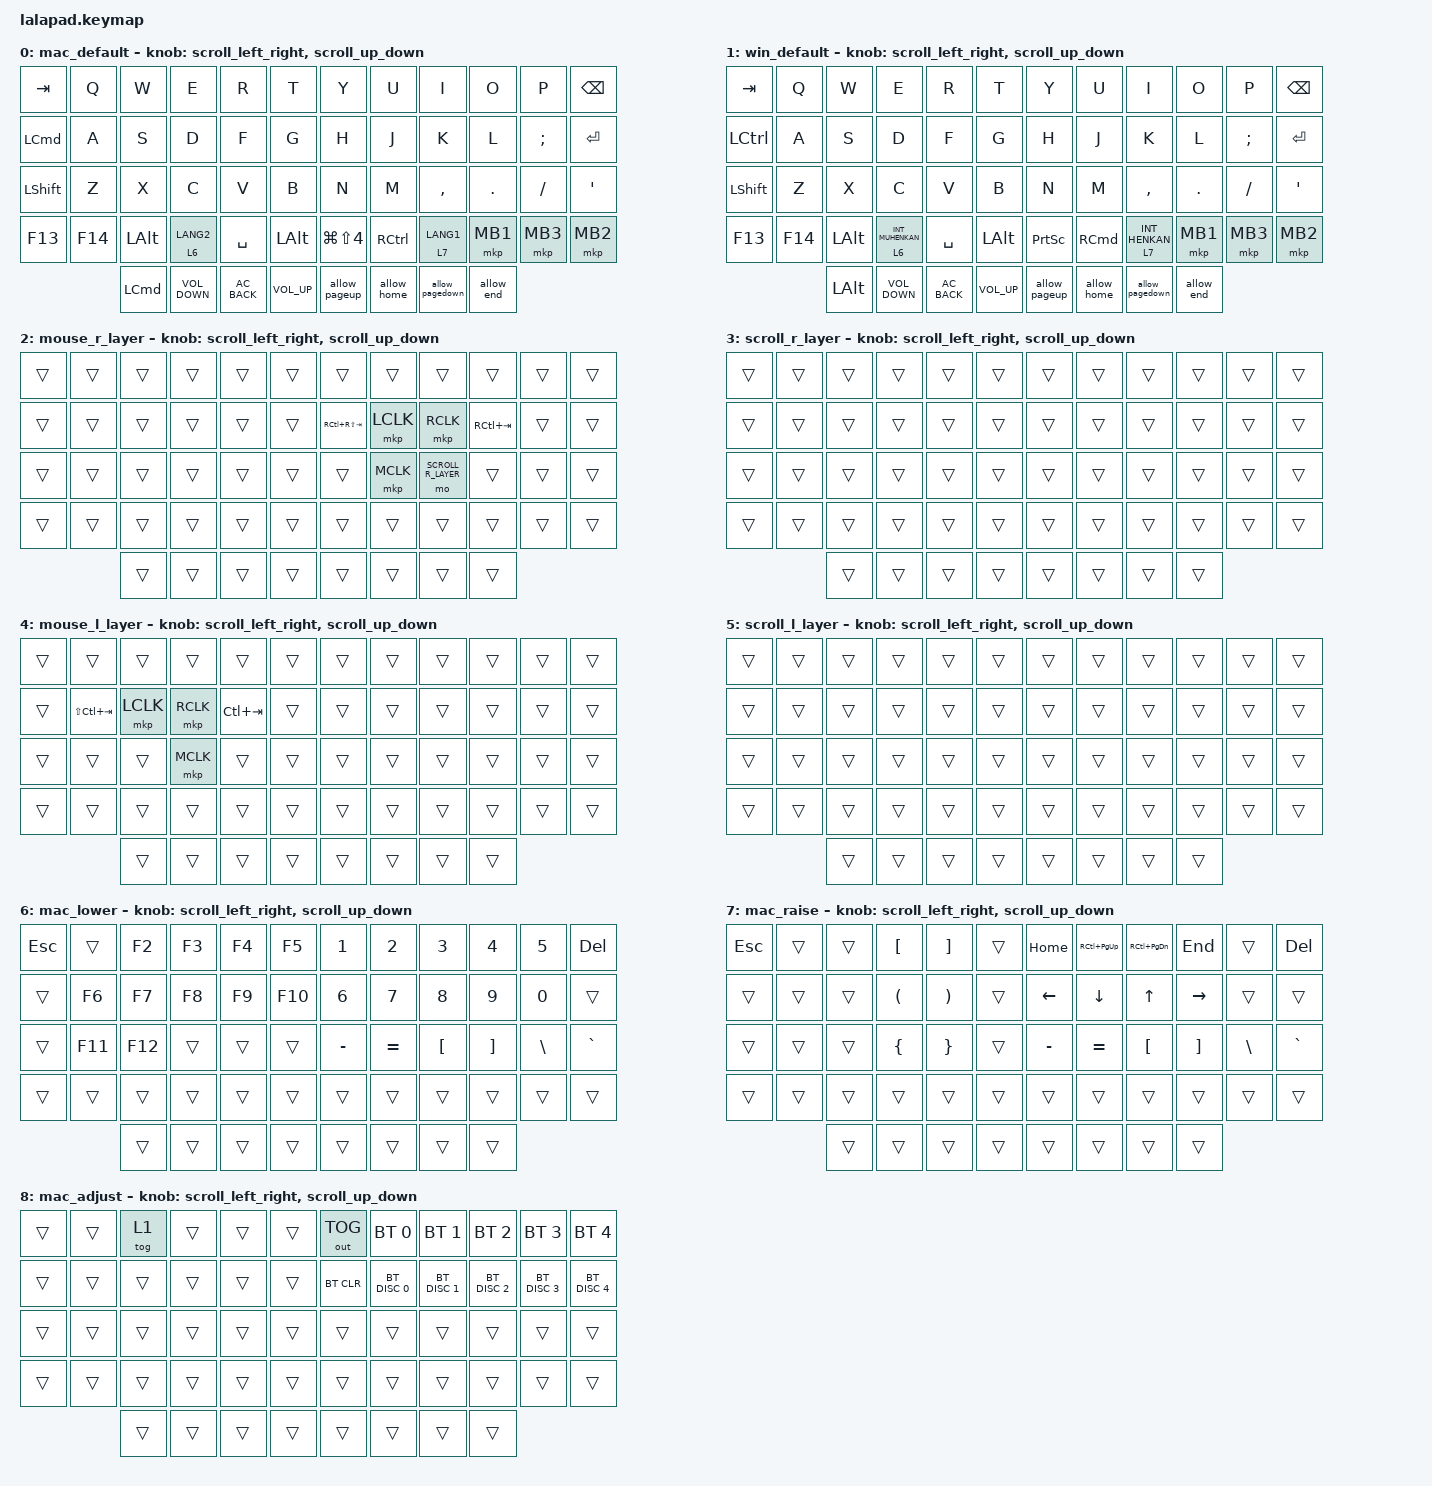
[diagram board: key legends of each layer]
#include <input/processors.dtsi>
#include <behaviors.dtsi>
#include <dt-bindings/zmk/bt.h>
#include <dt-bindings/zmk/keys.h>
#include <dt-bindings/zmk/outputs.h>
#include <dt-bindings/zmk/pointing.h>

#define MAC_DEFAULT     0
#define WIN_DEFAULT     1
#define MOUSE_R_LAYER   2
#define SCROLL_R_LAYER  3
#define MOUSE_L_LAYER   4
#define SCROLL_L_LAYER  5
#define MAC_LOWER       6
#define MAC_RAISE       7
#define MAC_ADJUST      8

// Mouse Scroll Value

#define ZMK_POINTING_DEFAULT_SCRL_VAL 100

&zip_temp_layer {
    require-prior-idle-ms = <200>;
    excluded-positions = <
        0  // Tab
        12 // Ctrl
        18 // H
        19 // J
        20 // K
        21 // L
        24 // Shift
        31 // M
        32 // ,
    >;
};

// cirque trackpad input&layer control

&glidepoint_listener_R {
    input-processors =
        <&zip_xy_transform (INPUT_TRANSFORM_XY_SWAP | INPUT_TRANSFORM_X_INVERT | INPUT_TRANSFORM_Y_INVERT)>,
        <&zip_xy_scaler 6 2>,
        <&zip_temp_layer MOUSE_R_LAYER 500>;

    lowspeedmode {
        layers = <MAC_LOWER>;
        input-processors =
            <&zip_xy_transform (INPUT_TRANSFORM_XY_SWAP | INPUT_TRANSFORM_X_INVERT | INPUT_TRANSFORM_Y_INVERT)>,
            <&zip_xy_scaler 3 5>,
            <&zip_temp_layer MOUSE_R_LAYER 500>;
    };

    scroller {
        layers = <SCROLL_R_LAYER>;
        input-processors =
            <&zip_xy_to_scroll_mapper>,
            <&zip_scroll_transform (INPUT_TRANSFORM_XY_SWAP | INPUT_TRANSFORM_Y_INVERT)>,
            <&zip_scroll_scaler 1 8>;
    };
};

&glidepoint_listener_L {
    input-processors =
        <&zip_xy_transform (INPUT_TRANSFORM_XY_SWAP | INPUT_TRANSFORM_X_INVERT | INPUT_TRANSFORM_Y_INVERT)>,
        <&zip_xy_scaler 6 2>,
        <&zip_temp_layer MOUSE_L_LAYER 500>;

    lowspeedmode {
        layers = <MAC_LOWER>;
        input-processors =
            <&zip_xy_transform (INPUT_TRANSFORM_XY_SWAP | INPUT_TRANSFORM_X_INVERT | INPUT_TRANSFORM_Y_INVERT)>,
            <&zip_xy_scaler 3 5>,
            <&zip_temp_layer MOUSE_L_LAYER 500>;
    };

    scroller {
        layers = <SCROLL_L_LAYER>;
        input-processors =
            <&zip_xy_to_scroll_mapper>,
            <&zip_scroll_transform (INPUT_TRANSFORM_XY_SWAP | INPUT_TRANSFORM_Y_INVERT)>,
            <&zip_scroll_scaler 1 6>;
    };
};

/ {
    behaviors {
        // Encoder to Mouse Scroll

        scroll_up_down: behavior_sensor_rotate_mouse_wheel_up_down {
            compatible = "zmk,behavior-sensor-rotate";
            #sensor-binding-cells = <0>;
            bindings = <&msc SCRL_UP>, <&msc SCRL_DOWN>;

            tap-ms = <20>;
            label = "SCROLL_UP_DOWN";
        };

        scroll_down_up: behavior_sensor_rotate_mouse_wheel_down_up {
            compatible = "zmk,behavior-sensor-rotate";
            #sensor-binding-cells = <0>;
            bindings = <&msc SCRL_DOWN>, <&msc SCRL_UP>;

            tap-ms = <20>;
            label = "SCROLL_DOWN_UP";
        };

        scroll_left_right: behavior_sensor_rotate_mouse_wheel_left_right {
            compatible = "zmk,behavior-sensor-rotate";
            #sensor-binding-cells = <0>;
            bindings = <&msc SCRL_LEFT>, <&msc SCRL_RIGHT>;

            tap-ms = <20>;
            label = "SCROLL_LEFT_RIGHT";
        };

        scroll_right_left: behavior_sensor_rotate_mouse_wheel_right_left {
            compatible = "zmk,behavior-sensor-rotate";
            #sensor-binding-cells = <0>;
            bindings = <&msc SCRL_RIGHT>, <&msc SCRL_LEFT>;

            tap-ms = <20>;
            label = "SCROLL_RIGHT_LEFT";
        };

        volume_up_down: behavior_sensor_rotate_volume_up_down {
            compatible = "zmk,behavior-sensor-rotate";
            #sensor-binding-cells = <0>;
            bindings = <&kp C_VOLUME_UP>, <&kp C_VOLUME_DOWN>;

            tap-ms = <20>;
            label = "VOLUME_UP_DOWN";
        };

        dot_comma: dot_comma {
            compatible = "zmk,behavior-mod-morph";
            #binding-cells = <0>;
            bindings = <&kp KP_DOT>, <&kp COMMA>;

            mods = <(MOD_LSFT|MOD_RSFT)>;
            label = "DOT_COMMA";
        };

        pls_minus: pls_minus {
            compatible = "zmk,behavior-mod-morph";
            #binding-cells = <0>;
            bindings = <&kp PLUS>, <&kp MINUS>;

            mods = <(MOD_LSFT|MOD_RSFT)>;
            label = "PLS_MINUS";
        };

        allow_pageup: allow_pageup {
            compatible = "zmk,behavior-mod-morph";
            #binding-cells = <0>;
            bindings = <&kp UP>, <&kp PAGE_UP>;

            mods = <(MOD_LCTL|MOD_RCTL)>;
            label = "ALLOW_PAGEUP";
        };

        allow_pagedown: allow_pagedown {
            compatible = "zmk,behavior-mod-morph";
            #binding-cells = <0>;
            bindings = <&kp DOWN>, <&kp PAGE_DOWN>;

            mods = <(MOD_LCTL|MOD_RCTL)>;
            label = "ALLOW_PAGEDOWN";
        };

        allow_home: allow_home {
            compatible = "zmk,behavior-mod-morph";
            #binding-cells = <0>;
            bindings = <&kp LEFT>, <&kp HOME>;

            mods = <(MOD_LCTL|MOD_RCTL)>;
            label = "ALLOW_HOME";
        };

        allow_end: allow_end {
            compatible = "zmk,behavior-mod-morph";
            #binding-cells = <0>;
            bindings = <&kp RIGHT>, <&kp END>;

            mods = <(MOD_LCTL|MOD_RCTL)>;
            label = "ALLOW_END";
        };

        mt2: mod_tap2 {
            compatible = "zmk,behavior-hold-tap";
            #binding-cells = <2>;
            flavor = "hold-preferred";
            tapping-term-ms = <200>;
            quick-tap-ms = <200>;
            require-prior-idle-ms = <125>;
            bindings = <&kp>, <&kp>;
        };

        mt: mod_tap {
            compatible = "zmk,behavior-hold-tap";
            #binding-cells = <2>;
            flavor = "hold-preferred";
            tapping-term-ms = <200>;
            bindings = <&kp>, <&kp>;

            display-name = "Mod-Tap";
        };

        lt: layer_tap {
            compatible = "zmk,behavior-hold-tap";
            #binding-cells = <2>;
            flavor = "hold-preferred";
            tapping-term-ms = <200>;
            bindings = <&mo>, <&kp>;

            hold-while-undecided;
            display-name = "Layer-Tap";
        };

        lt_to_layer_0: lt_to_layer_0 {
            compatible = "zmk,behavior-hold-tap";
            #binding-cells = <2>;
            flavor = "hold-preferred";
            tapping-term-ms = <200>;
            bindings = <&mo>, <&to_layer_0>;

            hold-while-undecided;
            label = "LAYER_TAP_TO_0";
        };

        lt_to_layer_1: lt_to_layer_1 {
            compatible = "zmk,behavior-hold-tap";
            #binding-cells = <2>;
            flavor = "hold-preferred";
            tapping-term-ms = <200>;
            bindings = <&mo>, <&to_layer_1>;

            hold-while-undecided;
            label = "LAYER_TAP_TO_1";
        };

        tog_on: toggle_layer_on_only {
            compatible = "zmk,behavior-toggle-layer";
            #binding-cells = <1>;
            display-name = "Toggle Layer On";
            toggle-mode = "on";
        };

        tog_off: toggle_layer_off_only {
            compatible = "zmk,behavior-toggle-layer";
            #binding-cells = <1>;
            display-name = "Toggle Layer Off";
            toggle-mode = "off";
        };

        jis_1: jis_1 {
            compatible = "zmk,behavior-mod-morph";
            #binding-cells = <0>;
            bindings = <&kp N1>, <&kp EXCLAMATION>;

            mods = <(MOD_LSFT|MOD_RSFT)>;
            label = "JIS_1";
        };

        jis_2: jis_2 {
            compatible = "zmk,behavior-mod-morph";
            #binding-cells = <0>;
            bindings = <&kp N2>, <&kp LEFT_BRACKET>;

            mods = <(MOD_LSFT|MOD_RSFT)>;
            label = "JIS_2";
        };

        jis_3: jis_3 {
            compatible = "zmk,behavior-mod-morph";
            #binding-cells = <0>;
            bindings = <&kp N3>, <&kp HASH>;

            mods = <(MOD_LSFT|MOD_RSFT)>;
            label = "JIS_3";
        };

        jis_4: jis_4 {
            compatible = "zmk,behavior-mod-morph";
            #binding-cells = <0>;
            bindings = <&kp N4>, <&kp DOLLAR>;

            mods = <(MOD_LSFT|MOD_RSFT)>;
            label = "JIS_4";
        };

        jis_5: jis_5 {
            compatible = "zmk,behavior-mod-morph";
            #binding-cells = <0>;
            bindings = <&kp N5>, <&kp PERCENT>;

            mods = <(MOD_LSFT|MOD_RSFT)>;
            label = "JIS_5";
        };

        jis_6: jis_6 {
            compatible = "zmk,behavior-mod-morph";
            #binding-cells = <0>;
            bindings = <&kp N6>, <&kp EQUAL>;

            mods = <(MOD_LSFT|MOD_RSFT)>;
            label = "JIS_6";
        };

        jis_7: jis_7 {
            compatible = "zmk,behavior-mod-morph";
            #binding-cells = <0>;
            bindings = <&kp N7>, <&kp CARET>;

            mods = <(MOD_LSFT|MOD_RSFT)>;
            label = "JIS_7";
        };

        jis_8: jis_8 {
            compatible = "zmk,behavior-mod-morph";
            #binding-cells = <0>;
            bindings = <&kp N8>, <&kp DOUBLE_QUOTES>;

            mods = <(MOD_LSFT|MOD_RSFT)>;
            label = "JIS_8";
        };

        jis_9: jis_9 {
            compatible = "zmk,behavior-mod-morph";
            #binding-cells = <0>;
            bindings = <&kp N9>, <&kp ASTERISK>;

            mods = <(MOD_LSFT|MOD_RSFT)>;
            label = "JIS_9";
        };

        jis_0: jis_0 {
            compatible = "zmk,behavior-mod-morph";
            #binding-cells = <0>;
            bindings = <&kp N0>, <&kp LEFT_PARENTHESIS>;

            mods = <(MOD_LSFT|MOD_RSFT)>;
            label = "JIS_0";
        };
    };

    macros {
        to_layer_0: to_layer_0 {
            compatible = "zmk,behavior-macro-one-param";
            #binding-cells = <1>;
            bindings = <&to 0 &macro_param_1to1 &kp MACRO_PLACEHOLDER>;
            label = "TO_LAYER_0";
        };

        to_layer_1: to_layer_1 {
            compatible = "zmk,behavior-macro-one-param";
            #binding-cells = <1>;
            bindings = <&to 1 &macro_param_1to1 &kp MACRO_PLACEHOLDER>;
            label = "TO_LAYER_1";
        };

        connectMac: connectMac {
            compatible = "zmk,behavior-macro";
            #binding-cells = <0>;
            bindings =
                <&tog_off 1>,
                <&macro_wait_time 200>,
                <&bt BT_SEL 0>,
                <&macro_wait_time 500>;

            label = "CONNECTMAC";
        };

        connectWin: tglWin {
            compatible = "zmk,behavior-macro";
            #binding-cells = <0>;
            bindings =
                <&tog_off 1>,
                <&macro_wait_time 200>,
                <&bt BT_SEL 1>,
                <&macro_wait_time 500>,
                <&tog_on 1>;

            label = "TGLWIN";
        };

        connectAndroid: connectAndroid {
            compatible = "zmk,behavior-macro";
            #binding-cells = <0>;
            bindings =
                <&tog_off 1>,
                <&macro_wait_time 200>,
                <&bt BT_SEL 2>,
                <&macro_wait_time 500>,
                <&tog_on 1>;

            label = "CONNECTANDROID";
        };

        connectiPad: connectiPad {
            compatible = "zmk,behavior-macro";
            #binding-cells = <0>;
            bindings =
                <&tog_off 1>,
                <&macro_wait_time 200>,
                <&bt BT_SEL 3>,
                <&macro_wait_time 500>;

            label = "CONNECTIPAD";
        };
    };

    combos {
        compatible = "zmk,combos";

        QW_TAB {
            bindings = <&kp TAB>;
            timeout-ms = <20>;
            key-positions = <1 2>;
        };

        DF_LANG2 {
            bindings = <&kp LANG2>;
            timeout-ms = <20>;
            key-positions = <15 16>;
        };

        JK_LANG1 {
            bindings = <&kp LANG1>;
            timeout-ms = <20>;
            key-positions = <19 20>;
        };

        YU {
            bindings = <&kp LG(X)>;
            timeout-ms = <20>;
            key-positions = <6 7>;
        };

        HJ {
            bindings = <&kp LG(C)>;
            timeout-ms = <20>;
            key-positions = <18 19>;
        };

        RT {
            bindings = <&kp LG(Y)>;
            timeout-ms = <20>;
            key-positions = <4 5>;
        };

        FG {
            bindings = <&kp LG(A)>;
            timeout-ms = <20>;
            key-positions = <16 17>;
        };

        VB {
            bindings = <&kp LG(Z)>;
            timeout-ms = <20>;
            key-positions = <28 29>;
        };

        NM {
            bindings = <&kp RG(V)>;
            timeout-ms = <20>;
            key-positions = <30 31>;
        };
    };

    keymap {
        compatible = "zmk,keymap";

        MAC_DEFAULT {
            display-name = "mac_default";
            sensor-bindings = <&scroll_left_right>, <&scroll_up_down>;

            bindings = <
&kp TAB    &kp Q    &kp W         &kp E                   &kp R          &kp T            &kp Y                 &kp U        &kp I                   &kp O       &kp P      &kp BACKSPACE
&kp LCMD   &kp A    &kp S         &kp D                   &kp F          &kp G            &kp H                 &kp J        &kp K                   &kp L       &kp SEMI   &kp ENTER
&kp LSHFT  &kp Z    &kp X         &kp C                   &kp V          &kp B            &kp N                 &kp M        &kp COMMA               &kp PERIOD  &kp SLASH  &kp SQT
&kp F13    &kp F14  &kp LEFT_ALT  &lt_to_layer_0 6 LANG2  &kp SPACE      &kp LEFT_ALT     &kp LG(LS(NUMBER_4))  &kp RCTRL    &lt_to_layer_0 7 LANG1  &mkp MB1    &mkp MB3   &mkp MB2
                    &kp LCMD      &kp C_VOLUME_DOWN       &kp C_AC_BACK  &kp C_VOLUME_UP  &allow_pageup         &allow_home  &allow_pagedown         &allow_end
            >;
        };

        WIN_DEFAULT {
            display-name = "win_default";
            sensor-bindings = <&scroll_left_right>, <&scroll_up_down>;

            bindings = <
&kp TAB    &kp Q    &kp W         &kp E                          &kp R          &kp T            &kp Y          &kp U        &kp I                        &kp O       &kp P      &kp BACKSPACE
&kp LCTRL  &kp A    &kp S         &kp D                          &kp F          &kp G            &kp H          &kp J        &kp K                        &kp L       &kp SEMI   &kp ENTER
&kp LSHFT  &kp Z    &kp X         &kp C                          &kp V          &kp B            &kp N          &kp M        &kp COMMA                    &kp PERIOD  &kp SLASH  &kp SQT
&kp F13    &kp F14  &kp LEFT_ALT  &lt_to_layer_1 6 INT_MUHENKAN  &kp SPACE      &kp LEFT_ALT     &kp PSCRN      &kp RCMD     &lt_to_layer_1 7 INT_HENKAN  &mkp MB1    &mkp MB3   &mkp MB2
                    &kp LALT      &kp C_VOLUME_DOWN              &kp C_AC_BACK  &kp C_VOLUME_UP  &allow_pageup  &allow_home  &allow_pagedown              &allow_end
            >;
        };

        MOUSE_R_LAYER {
            display-name = "mouse_r_layer";
            bindings = <
&trans  &trans  &trans  &trans  &trans  &trans  &trans           &trans     &trans              &trans       &trans  &trans
&trans  &trans  &trans  &trans  &trans  &trans  &kp RC(RS(TAB))  &mkp LCLK  &mkp RCLK           &kp RC(TAB)  &trans  &trans
&trans  &trans  &trans  &trans  &trans  &trans  &trans           &mkp MCLK  &mo SCROLL_R_LAYER  &trans       &trans  &trans
&trans  &trans  &trans  &trans  &trans  &trans  &trans           &trans     &trans              &trans       &trans  &trans
                &trans  &trans  &trans  &trans  &trans           &trans     &trans              &trans
            >;

            sensor-bindings = <&scroll_left_right>, <&scroll_up_down>;
        };

        SCROLL_R_LAYER {
            display-name = "scroll_r_layer";
            bindings = <
&trans  &trans  &trans  &trans  &trans  &trans  &trans  &trans  &trans  &trans  &trans  &trans
&trans  &trans  &trans  &trans  &trans  &trans  &trans  &trans  &trans  &trans  &trans  &trans
&trans  &trans  &trans  &trans  &trans  &trans  &trans  &trans  &trans  &trans  &trans  &trans
&trans  &trans  &trans  &trans  &trans  &trans  &trans  &trans  &trans  &trans  &trans  &trans
                &trans  &trans  &trans  &trans  &trans  &trans  &trans  &trans
            >;

            sensor-bindings = <&scroll_left_right>, <&scroll_up_down>;
        };

        MOUSE_L_LAYER {
            display-name = "mouse_l_layer";
            bindings = <
&trans  &trans           &trans     &trans     &trans       &trans  &trans  &trans  &trans  &trans  &trans  &trans
&trans  &kp LS(LC(TAB))  &mkp LCLK  &mkp RCLK  &kp LC(TAB)  &trans  &trans  &trans  &trans  &trans  &trans  &trans
&trans  &trans           &trans     &mkp MCLK  &trans       &trans  &trans  &trans  &trans  &trans  &trans  &trans
&trans  &trans           &trans     &trans     &trans       &trans  &trans  &trans  &trans  &trans  &trans  &trans
                         &trans     &trans     &trans       &trans  &trans  &trans  &trans  &trans
            >;

            sensor-bindings = <&scroll_left_right>, <&scroll_up_down>;
        };

        SCROLL_L_LAYER {
            display-name = "scroll_l_layer";
            bindings = <
&trans  &trans  &trans  &trans  &trans  &trans  &trans  &trans  &trans  &trans  &trans  &trans
&trans  &trans  &trans  &trans  &trans  &trans  &trans  &trans  &trans  &trans  &trans  &trans
&trans  &trans  &trans  &trans  &trans  &trans  &trans  &trans  &trans  &trans  &trans  &trans
&trans  &trans  &trans  &trans  &trans  &trans  &trans  &trans  &trans  &trans  &trans  &trans
                &trans  &trans  &trans  &trans  &trans  &trans  &trans  &trans
            >;

            sensor-bindings = <&scroll_left_right>, <&scroll_up_down>;
        };

        MAC_LOWER {
            display-name = "mac_lower";
            sensor-bindings = <&scroll_left_right>, <&scroll_up_down>;

            bindings = <
&kp ESC  &trans   &kp F2   &kp F3  &kp F4  &kp F5   &kp N1     &kp N2     &kp N3    &kp N4    &kp N5    &kp DELETE
&trans   &kp F6   &kp F7   &kp F8  &kp F9  &kp F10  &kp N6     &kp N7     &kp N8    &kp N9    &kp N0    &trans
&trans   &kp F11  &kp F12  &trans  &trans  &trans   &kp MINUS  &kp EQUAL  &kp LBKT  &kp RBKT  &kp BSLH  &kp GRAVE
&trans   &trans   &trans   &trans  &trans  &trans   &trans     &trans     &trans    &trans    &trans    &trans
                  &trans   &trans  &trans  &trans   &trans     &trans     &trans    &trans
            >;
        };

        MAC_RAISE {
            display-name = "mac_raise";
            sensor-bindings = <&scroll_left_right>, <&scroll_up_down>;

            bindings = <
&kp ESC  &trans  &trans  &kp LBKT              &kp RBKT               &trans  &kp HOME   &kp RC(PG_UP)  &kp RC(PG_DN)  &kp END    &trans    &kp DEL
&trans   &trans  &trans  &kp LEFT_PARENTHESIS  &kp RIGHT_PARENTHESIS  &trans  &kp LEFT   &kp DOWN       &kp UP         &kp RIGHT  &trans    &trans
&trans   &trans  &trans  &kp LEFT_BRACE        &kp RIGHT_BRACE        &trans  &kp MINUS  &kp EQUAL      &kp LBKT       &kp RBKT   &kp BSLH  &kp GRAVE
&trans   &trans  &trans  &trans                &trans                 &trans  &trans     &trans         &trans         &trans     &trans    &trans
                 &trans  &trans                &trans                 &trans  &trans     &trans         &trans         &trans
            >;
        };

        MAC_ADJUST {
            display-name = "mac_adjust";
            bindings = <
&trans  &trans  &tog 1  &trans  &trans  &trans  &out OUT_TOG  &bt BT_SEL 0   &bt BT_SEL 1   &bt BT_SEL 2   &bt BT_SEL 3   &bt BT_SEL 4
&trans  &trans  &trans  &trans  &trans  &trans  &bt BT_CLR    &bt BT_DISC 0  &bt BT_DISC 1  &bt BT_DISC 2  &bt BT_DISC 3  &bt BT_DISC 4
&trans  &trans  &trans  &trans  &trans  &trans  &trans        &trans         &trans         &trans         &trans         &trans
&trans  &trans  &trans  &trans  &trans  &trans  &trans        &trans         &trans         &trans         &trans         &trans
                &trans  &trans  &trans  &trans  &trans        &trans         &trans         &trans
            >;

            sensor-bindings = <&scroll_left_right>, <&scroll_up_down>;
        };
    };

    conditional_layers {
        compatible = "zmk,conditional-layers";

        Adjust {
            if-layers = <6 7>;
            then-layer = <8>;
        };
    };
};
